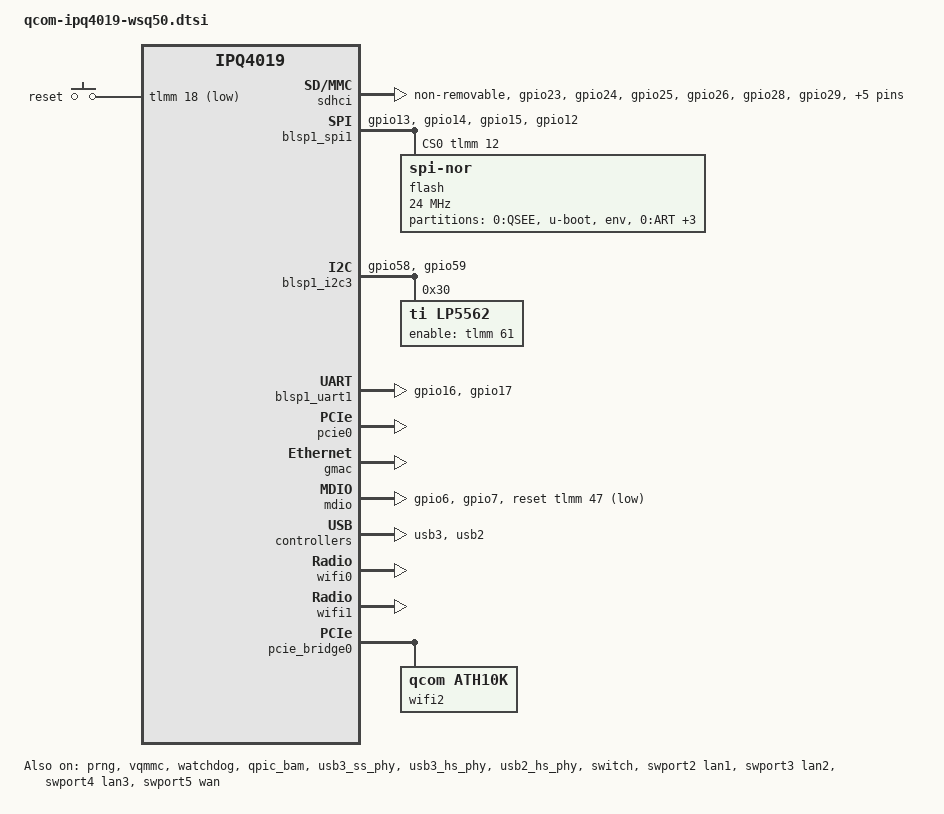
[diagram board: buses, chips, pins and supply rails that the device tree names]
// SPDX-License-Identifier: GPL-2.0-or-later OR MIT

/*
 * Device Tree Source for Zyxel WSQ50(Multy X) and WSQ60(Multy Plus)
 */

#include "qcom-ipq4019.dtsi"
#include <dt-bindings/gpio/gpio.h>
#include <dt-bindings/input/input.h>
#include <dt-bindings/soc/qcom,tcsr.h>
#include <dt-bindings/leds/common.h>

/ {
	aliases {
		led-boot = &led_green;
		led-failsafe = &led_red;
		led-running = &led_green;
		led-upgrade = &led_blue;
		serial0 = &blsp1_uart1;
		ethernet0 = &gmac;
		label-mac-device = &swport2;
	};

	chosen {
		stdout-path = "serial0:115200n8";
		bootargs-append = " rootfstype=squashfs ro fstools_ignore_partname=1 fstools_overlay_fstype=ext4";
	};

	soc {
		tcsr@1949000 {
			compatible = "qcom,tcsr";
			reg = <0x1949000 0x100>;
			qcom,wifi_glb_cfg = <TCSR_WIFI_GLB_CFG>;
		};

		tcsr@194b000 {
			compatible = "qcom,tcsr";
			reg = <0x194b000 0x100>;
			qcom,usb-hsphy-mode-select = <TCSR_USB_HSPHY_HOST_MODE>;
		};

		ess_tcsr@1953000 {
			compatible = "qcom,tcsr";
			reg = <0x1953000 0x1000>;
			qcom,ess-interface-select = <TCSR_ESS_PSGMII>;
		};

		tcsr@1957000 {
			compatible = "qcom,tcsr";
			reg = <0x1957000 0x100>;
			qcom,wifi_noc_memtype_m0_m2 = <TCSR_WIFI_NOC_MEMTYPE_M0_M2>;
		};
	};

	keys {
		compatible = "gpio-keys";

		reset {
			label = "reset";
			linux,code = <KEY_RESTART>;
			gpios = <&tlmm 18 GPIO_ACTIVE_LOW>;
		};
	};
};

&prng {
	status = "okay";
};

&tlmm {
	status = "okay";

	serial_0_pins: serial0-pinmux {
		pins = "gpio16", "gpio17";
		function = "blsp_uart0";
		bias-disable;
	};

	spi_0_pins: spi-0-state {
		spi0-pins {
			pins = "gpio13", "gpio14", "gpio15";
			function = "blsp_spi0";
			drive-strength = <12>;
			bias-disable;
		};
		spi0-cs-pins {
			pins = "gpio12";
			function = "gpio";
			drive-strength = <2>;
			bias-disable;
			output-high;
		};
	};

	mdio_pins: mdio_pinmux {
		mux_1 {
			pins = "gpio6";
			function = "mdio";
			bias-pull-up;
		};
		mux_2 {
			pins = "gpio7";
			function = "mdc";
			bias-pull-up;
		};
	};

	i2c_0_pins: i2c_0_pinmux {
		pinmux {
			pins = "gpio58", "gpio59";
			function = "blsp_i2c0";
			bias-disable;
		};
	};

	sd_pins: sd_pins {
		mux {
			function = "sdio";
			pins = "gpio23", "gpio24", "gpio25", "gpio26",
				"gpio28", "gpio29", "gpio30", "gpio31";
			drive-strength = <4>;
		};

		mux_sd_clk {
			function = "sdio";
			pins = "gpio27";
			drive-strength = <16>;
		};

		mux_sd7 {
			function = "sdio";
			pins = "gpio32";
			drive-strength = <4>;
			bias-disable;
		};
	};
};

&vqmmc {
	status = "okay";
};

&sdhci {
	status = "okay";
	pinctrl-0 = <&sd_pins>;
	pinctrl-names = "default";
	vqmmc-supply = <&vqmmc>;
	non-removable;
	cd-gpios = <&tlmm 22 GPIO_ACTIVE_LOW>;
	sd-ldo-gpios = <&tlmm 33 GPIO_ACTIVE_LOW>;
};

&blsp_dma {
	status = "okay";
};

&blsp1_spi1 {
	pinctrl-0 = <&spi_0_pins>;
	pinctrl-names = "default";
	status = "okay";
	cs-gpios = <&tlmm 12 GPIO_ACTIVE_HIGH>;

	flash@0 {
		#address-cells = <1>;
		#size-cells = <1>;
		reg = <0>;
		compatible = "jedec,spi-nor", "n25q128a11";
		spi-max-frequency = <24000000>;
		status = "okay";
		m25p,fast-read;

		partitions {
			compatible = "fixed-partitions";
			#address-cells = <1>;
			#size-cells = <1>;

			partition@60000 {
				label = "0:QSEE";
				reg = <0x00060000 0x00060000>;
				read-only;
			};

			partition@e0000 {
				label = "u-boot";
				reg = <0x000e0000 0x00080000>;
				read-only;
			};

			partition@160000 {
				label = "env";
				reg = <0x00160000 0x00010000>;

				nvmem-layout {
					compatible = "u-boot,env";

					macaddr_base: ethaddr {
						#nvmem-cell-cells = <1>;
					};
				};
			};

			partition@170000 {
				label = "0:ART";
				reg = <0x00170000 0x00010000>;
				read-only;

				nvmem-layout {
					compatible = "fixed-layout";
					#address-cells = <1>;
					#size-cells = <1>;

					caldata_1000: calibration@1000 {
						reg = <0x1000 0x2f20>;
					};

					caldata_5000: calibration@5000 {
						reg = <0x5000 0x2f20>;
					};

					caldata_9000: calibration@9000 {
						reg = <0x9000 0x2f20>;
					};
				};
			};

			partition@180000 {
				label = "dualflag";
				reg = <0x00180000 0x00010000>;
			};

			partition@190000 {
				label = "0:CRT";
				reg = <0x00190000 0x00010000>;
				read-only;
			};

			partition@1a0000 {
				label = "reserved";
				reg = <0x001a0000 0x00260000>;
				read-only;
			};
		};
	};
};

&blsp1_i2c3 {
	pinctrl-0 = <&i2c_0_pins>;
	pinctrl-names = "default";
	status = "okay";

	lp5562@30 {
		compatible = "ti,lp5562";
		reg = <0x30>;
		clock-mode = /bits/ 8 <1>;
		status = "okay";
		enable-gpios = <&tlmm 61 GPIO_ACTIVE_HIGH>;
		#address-cells = <1>;
		#size-cells = <0>;

		led_red: led@0 {
			reg = <0>;
			color = <LED_COLOR_ID_RED>;
			function = LED_FUNCTION_STATUS;
			chan-name = "red:status";
			led-cur = /bits/ 8 <0xDF>;
			max-cur = /bits/ 8 <0xFF>;
		};

		led_green: led@1 {
			reg = <1>;
			color = <LED_COLOR_ID_GREEN>;
			function = LED_FUNCTION_STATUS;
			chan-name = "green:status";
			led-cur = /bits/ 8 <0x5F>;
			max-cur = /bits/ 8 <0xFF>;
		};

		led_blue: led@2 {
			reg = <2>;
			color = <LED_COLOR_ID_BLUE>;
			function = LED_FUNCTION_STATUS;
			chan-name = "blue:status";
			led-cur = /bits/ 8 <0x5F>;
			max-cur = /bits/ 8 <0xFF>;
		};
	};
};

&blsp1_uart1 {
	status = "okay";
	pinctrl-0 = <&serial_0_pins>;
	pinctrl-names = "default";
};

&watchdog {
	status = "okay";
};

&pcie0 {
	status = "okay";

	perst-gpios = <&tlmm 38 GPIO_ACTIVE_LOW>;
	wake-gpios = <&tlmm 50 GPIO_ACTIVE_LOW>;
};

&qpic_bam {
	status = "okay";
};

&gmac {
	status = "okay";
};

&mdio {
	status = "okay";
	pinctrl-0 = <&mdio_pins>;
	pinctrl-names = "default";
	reset-gpios = <&tlmm 47 GPIO_ACTIVE_LOW>;
	reset-delay-us = <2000>;
	reset-post-delay-us = <5000>;
};

&usb3_ss_phy {
	status = "okay";
};

&usb3_hs_phy {
	status = "okay";
};

&usb3 {
	status = "okay";
};

&usb3_dwc {
	#address-cells = <1>;
	#size-cells = <0>;

	usb3_port1: port@1 {
		reg = <1>;
		#trigger-source-cells = <0>;
	};

	usb3_port2: port@2 {
		reg = <2>;
		#trigger-source-cells = <0>;
	};
};

&usb2_hs_phy {
	status = "okay";
};

&usb2 {
	status = "okay";

	usb@6000000 {
		#address-cells = <1>;
		#size-cells = <0>;

		usb2_port1: port@1 {
			reg = <1>;
			#trigger-source-cells = <0>;
		};
	};
};

&switch {
	status = "okay";
};

&swport2 {
	status = "okay";
	label = "lan1";

	nvmem-cells = <&macaddr_base 2>;
	nvmem-cell-names = "mac-address";
};

&swport3 {
	status = "okay";
	label = "lan2";

	nvmem-cells = <&macaddr_base 2>;
	nvmem-cell-names = "mac-address";
};

&swport4 {
	status = "okay";
	label = "lan3";

	nvmem-cells = <&macaddr_base 2>;
	nvmem-cell-names = "mac-address";
};

&swport5 {
	status = "okay";
	label = "wan";

	nvmem-cells = <&macaddr_base 3>;
	nvmem-cell-names = "mac-address";
};

&wifi0 {
	nvmem-cells = <&caldata_1000>, <&macaddr_base 0>;
	nvmem-cell-names = "pre-calibration", "mac-address";
	qcom,calibration-variant = "Zyxel-WSQ50";
	status = "okay";

};

&wifi1 {
	ieee80211-freq-limit = <5170000 5330000>;
	nvmem-cells =  <&caldata_5000>, <&macaddr_base 1>;
	nvmem-cell-names = "pre-calibration", "mac-address";
	qcom,calibration-variant = "Zyxel-WSQ50";
	status = "okay";
};

&pcie_bridge0 {
	wifi2: wifi@0,0 {
		compatible = "qcom,ath10k";
		reg = <0x00010000 0 0 0 0>;
		ieee80211-freq-limit = <5490000 5835000>;
		nvmem-cells = <&caldata_9000>, <&macaddr_base 4>;
		nvmem-cell-names = "pre-calibration", "mac-address";
		qcom,calibration-variant = "Zyxel-WSQ50";
		status = "okay";
	};
};
